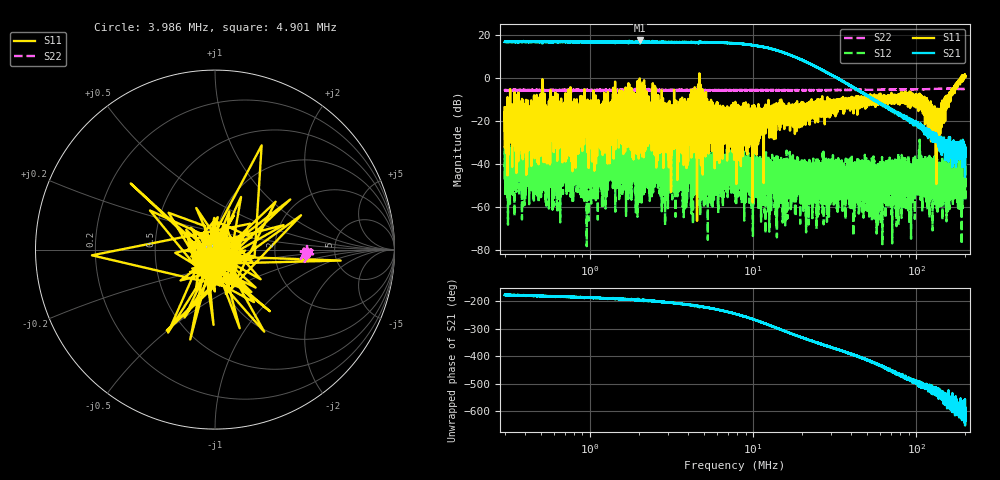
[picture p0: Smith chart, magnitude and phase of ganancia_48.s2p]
# Hz S DB R 50
! CMT, M5065, 19127446, 24.2.4/2
! Date: 11/1/2024 4:43:48 PM
! Data: Format (Calibration Info)
! Freq	S11:dB/Ang(F2)	S21:dB/Ang(F2)	S12:dB/Ang(F2)	S22:dB/Ang(F2)
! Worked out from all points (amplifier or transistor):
!   9000 points, 300 kHz to 200 MHz, reference 50 ohm
!   highest |S21| = 17.2 dB at 2.02 MHz (marker M1)
!   |S21| within 3 dB of that: start of sweep to 11.42 MHz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
!   unconditionally stable (mu >= 1): 2.522 MHz to 3.992 MHz; 4.849 MHz to 187.3 MHz; 187.5 MHz to 188.7 MHz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
!   at 886.8 kHz: K = 21.30, MAG = 17.9 dB, |S12| = -52.0 dB
!   at 7.749 MHz: K = 5.21, MAG = 17.2 dB, |S12| = -38.8 dB
!   at 200 MHz: K = -576.53, MSG = 4.7 dB, |S12| = -44.7 dB
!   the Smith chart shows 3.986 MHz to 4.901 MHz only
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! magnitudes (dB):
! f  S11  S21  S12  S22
! 300 kHz  -13.8  16.5  -47.4  -5.9
! 310.4 kHz  -27.8  16.6  -37.4  -5.8
! 411.4 kHz  -15.7  16.5  -38.7  -6.0
! 442.2 kHz  -17.1  16.6  -32.7  -5.9
! 793.4 kHz  -20.6  16.5  -38.0  -6.0
! 886.8 kHz  -12.8  16.3  -52.0  -5.9
! 1.26 MHz  -30.1  16.6  -33.8  -5.7
! 1.468 MHz  -20.4  16.6  -41.5  -5.9
! 1.803 MHz  -24.4  16.5  -42.0  -5.8
! 2.02 MHz  -0.4  17.2  -57.7  -5.9
! 2.621 MHz  -8.2  16.1  -40.9  -6.0
! 2.945 MHz  -16.6  16.4  -37.0  -5.9
! 4.382 MHz  -19.7  16.4  -38.8  -5.8
! 5.626 MHz  -17.0  16.4  -39.8  -5.8
! 7.749 MHz  -19.8  15.9  -38.8  -5.9
! 22.91 MHz  -12.0  6.0  -40.6  -5.8
! 67.71 MHz  -9.3  -14.2  -44.1  -5.6
! 91.25 MHz  -7.9  -19.4  -48.6  -5.5
! 101.7 MHz  -11.3  -21.6  -40.8  -5.5
! 135.8 MHz  -17.3  -28.0  -43.2  -5.2
! 155.4 MHz  -10.1  -35.1  -52.3  -5.2
! 200 MHz  0.7  -35.2  -44.7  -5.3
